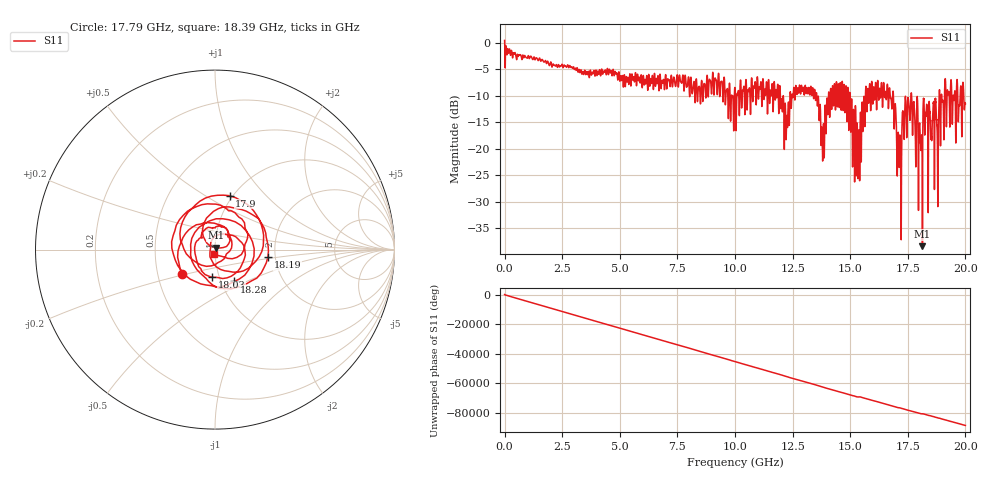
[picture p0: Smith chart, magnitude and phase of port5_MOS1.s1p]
! MS46122B
! 2250307/22442219
! 7/27/2025 9:20:30 AM
! C:\USERS\SPARKY\DOCUMENTS\VNA_DATA\JULY27_2025\3K\PORT5_MOS1.S1P
! CHANNEL.1
! TR.MEASUREMENT
! RAW.DATA
# GHZ S RI R 50.0
! FREQ.GHZ  S11RE  S11IM
!; PortSelection: Port_1
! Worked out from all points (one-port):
!   10001 points, 1 MHz to 20 GHz, reference 50 ohm
!   lowest |S11| = -38.3 dB at 18.14 GHz (marker M1), VSWR 1.02, Z = 50.4 + j1.14 ohm
!   |S11| at or under -10 dB: 14.99 GHz to 15.66 GHz (668.1 MHz wide, 4.36 % of centre); 16.88 GHz to 17.64 GHz (762.8 MHz wide, 4.42 % of centre); 17.67 GHz to 18.86 GHz (1.194 GHz wide, 6.54 % of centre) (the widest 3 of 77)
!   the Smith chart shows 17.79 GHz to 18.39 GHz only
!   S11 on the Smith chart (normalised r, x): 17.79 GHz: 0.67, -0.19; 17.9 GHz: 0.97, +0.64; 18.03 GHz: 0.93, -0.29; 18.19 GHz: 1.83, -0.17; 18.28 GHz: 1.15, -0.43; 18.39 GHz: 0.99, -0.05
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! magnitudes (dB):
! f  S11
! 1 MHz  0.4
! 2.501 GHz  -4.1
! 5.001 GHz  -7.2
! 7.501 GHz  -6.2
! 10 GHz  -8.5
! 11.78 GHz  -8.9
! 12.21 GHz  -17.8
! 12.5 GHz  -10.1
! 13.45 GHz  -8.8
! 13.8 GHz  -22.3
! 14.24 GHz  -8.1
! 15 GHz  -11.0
! 15.34 GHz  -23.7
! 15.76 GHz  -8.7
! 16.68 GHz  -9.9
! 16.92 GHz  -15.8
! 17.13 GHz  -22.9
! 17.5 GHz  -10.6
! 17.79 GHz  -12.9
! 17.9 GHz  -10.1
! 18.03 GHz  -16.2
! 18.14 GHz  -38.3
! 18.19 GHz  -10.5
! 18.28 GHz  -13.7
! 18.39 GHz  -32.0
! 18.74 GHz  -14.2
! 19.19 GHz  -11.5
! 20 GHz  -11.5
